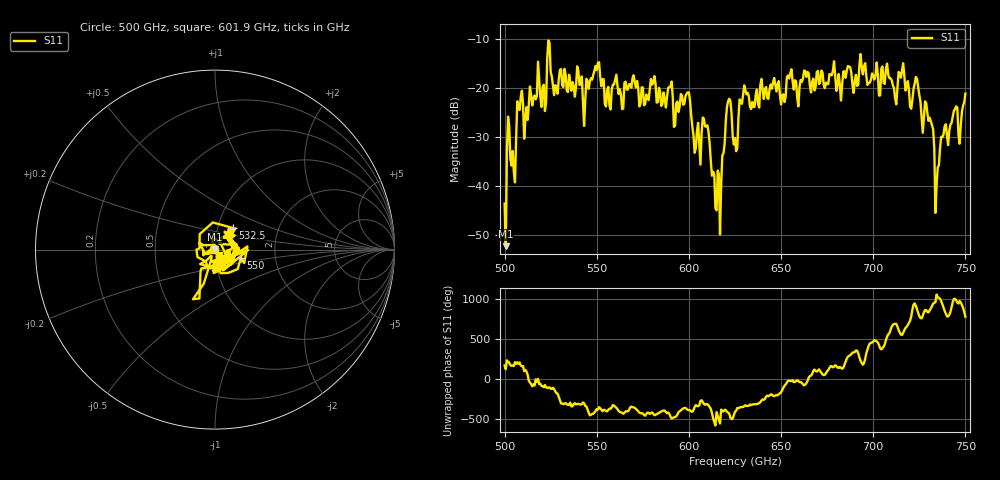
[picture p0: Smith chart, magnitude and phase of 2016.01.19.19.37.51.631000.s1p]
!Created with skrf (http://scikit-rf.org).
# GHz S RI R 50.0
!freq ReS11 ImS11
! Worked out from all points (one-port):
!   401 points, 500 GHz to 750 GHz, reference 50 ohm
!   lowest |S11| = -52.3 dB at 500.6 GHz (marker M1), VSWR 1.00, Z = 49.9 + j0.212 ohm
!   |S11| at or under -10 dB: start of sweep to end of sweep
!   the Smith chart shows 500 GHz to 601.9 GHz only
!   S11 on the Smith chart (normalised r, x): 500 GHz: 0.99, +0.00; 532.5 GHz: 1.18, +0.29; 550 GHz: 1.33, -0.12; 601.9 GHz: 1.05, -0.07
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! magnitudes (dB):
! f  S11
! 500 GHz  -43.6
! 500.6 GHz  -52.3
! 502.5 GHz  -27.8
! 505 GHz  -37.1
! 508.1 GHz  -24.5
! 521.2 GHz  -19.4
! 524.4 GHz  -10.9
! 527.5 GHz  -19.5
! 531.2 GHz  -19.5
! 532.5 GHz  -16.2
! 543.8 GHz  -22.6
! 550 GHz  -16.4
! 562.5 GHz  -20.3
! 593.8 GHz  -22.8
! 599.4 GHz  -20.9
! 601.9 GHz  -28.0
! 609.4 GHz  -27.9
! 615.6 GHz  -36.9
! 621.2 GHz  -22.8
! 625 GHz  -30.2
! 630.6 GHz  -20.5
! 656.2 GHz  -18.7
! 687.5 GHz  -15.8
! 718.8 GHz  -18.7
! 729.4 GHz  -25.2
! 734.4 GHz  -39.8
! 738.1 GHz  -29.5
! 750 GHz  -21.2
